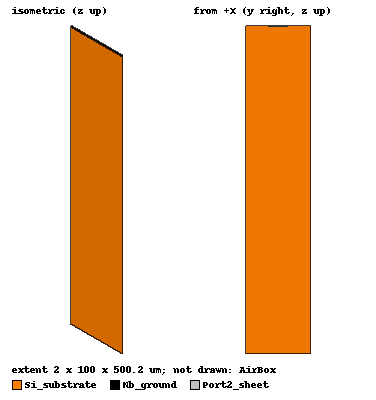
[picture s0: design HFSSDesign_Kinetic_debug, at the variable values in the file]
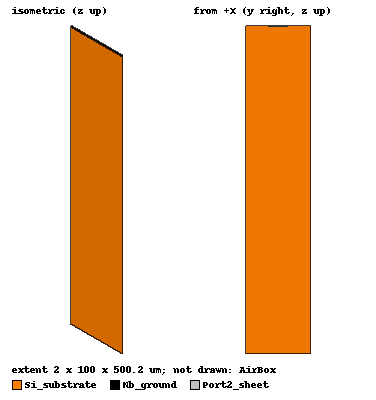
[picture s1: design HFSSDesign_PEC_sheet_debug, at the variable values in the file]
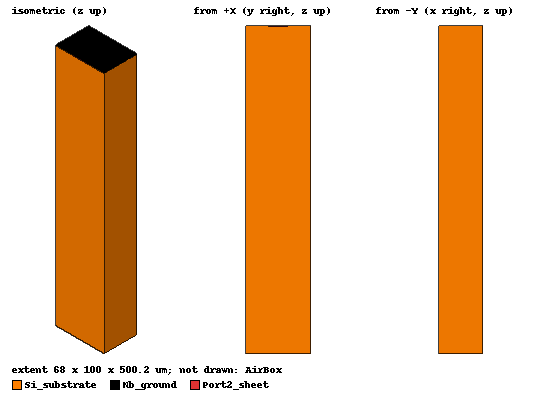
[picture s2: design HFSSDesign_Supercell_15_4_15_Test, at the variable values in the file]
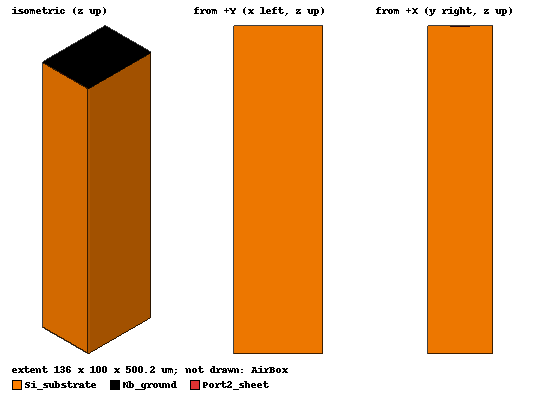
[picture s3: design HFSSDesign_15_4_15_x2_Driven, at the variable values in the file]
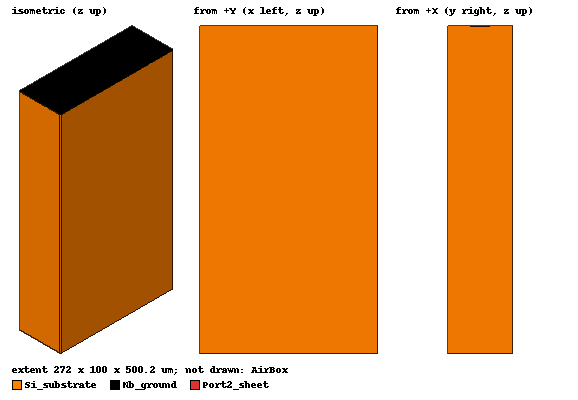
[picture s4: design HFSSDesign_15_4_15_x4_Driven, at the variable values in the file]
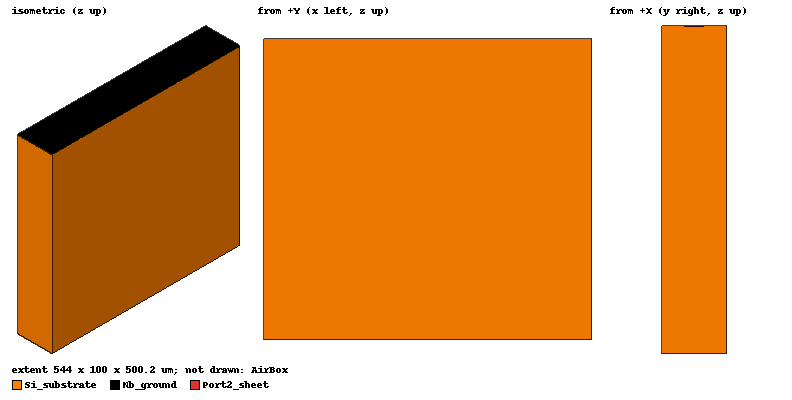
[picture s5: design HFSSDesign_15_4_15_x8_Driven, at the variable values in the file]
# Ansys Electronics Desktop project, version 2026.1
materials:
  vacuum: permittivity=1
  silicon: permittivity=11.9
  HR_Silicon_TWPA: permittivity=11.7
  a_Si_TWPA: permittivity=9.1
  pec: conductivity=1e+30

design HFSSDesign_Kinetic_debug (HFSS, HFSS Modal Network, model units um)
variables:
  stub_length = 12.1um
  port_width = 30um
  port_below = 1um
  cell_pitch = 2um
  line_width = 1um
  stub_width = 1um
  nbtin_thickness = 10nm
  dielectric_thick = 100nm
  eps_dielectric = 9.1
  Lk_square = 30pH
  tanD_substrate = 0
  air_side = 50um
  air_below = 50um
  air_above = 20um
  stub_side = 1
  substrate_thick = 500um
  eps_substrate = 11.7
  substrate_width = 100um
  ground_width = 100um
  tanD_dielectric = 0
  ground_thickness = 100nm
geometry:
  NbTiN_unit_cell [vacuum, non-model] = box(corner=(-cell_pitch/2, -line_width/2, 0um), size=(cell_pitch, line_width, nbtin_thickness))
  stub_2 = box(corner=(-stub_width/2, line_width/2, 0um), size=(stub_width, stub_length, nbtin_thickness))
  Si_substrate [HR_Silicon_TWPA] = box(corner=(-cell_pitch/2, -substrate_width/2, -substrate_thick), size=(cell_pitch, substrate_width, substrate_thick+nbtin_thickness))
  aSi_dielectric [a_Si_TWPA] = box(corner=(-cell_pitch/2, -ground_width/2, nbtin_thickness), size=(cell_pitch, ground_width, dielectric_thick))
  Nb_ground [pec] = box(corner=(-cell_pitch/2, -ground_width/2, nbtin_thickness+dielectric_thick), size=(cell_pitch, ground_width, ground_thickness))
  stub_1 = box(corner=(-stub_width/2, -line_width/2-stub_length, 0um), size=(stub_width, stub_length, nbtin_thickness))
  NbTiN_unit_cell.unite(stub_2, stub_1)
  AirBox [vacuum] = box(corner=(-1um, -100um, -550um), size=(2um, 200um, 570.21um))
  aSi_dielectric_1 = aSi_dielectric.copy()
  Nb_ground_1 = Nb_ground.copy()
  NbTiN_unit_cell_1 = NbTiN_unit_cell.copy()
  Si_substrate_1 = Si_substrate.copy()
  AirBox.subtract(aSi_dielectric_1, Nb_ground_1, NbTiN_unit_cell_1, Si_substrate_1)
  Port1_sheet = rectangle(corner=(-cell_pitch/2, -port_width/2, -port_below), y_size=port_width, z_size=port_below+dielectric_thick+ground_thickness)
  Port2_sheet = rectangle(corner=(cell_pitch/2, -port_width/2, -port_below), y_size=port_width, z_size=port_below + dielectric_thick + ground_thickness)
  NbTiN_sheet [pec] = object_from(NbTiN_unit_cell.face(+z))
  NbTiN_sheet.move(0um, 0um, 0um)
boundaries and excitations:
  NbTiN_Kinetic: Impedance Objects=NbTiN_sheet Resistance=0 Reactance=2*pi*Freq*Lk_square
  Port1: Wave Port Objects=Port1_sheet WavePortType=Default NumModes=1 Modes{Mode1{IntLine{(-1, 0, 0.01) -> (-1, 0, 0.11)} CharImp=Zpi RenormImp=50ohm}}
  Port2: Wave Port Objects=Port2_sheet WavePortType=Default NumModes=1 Modes{Mode1{IntLine{(1, 0, 0.01) -> (1, 0, 0.11)} CharImp=Zpi RenormImp=50ohm}}
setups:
  Setup1: HfssDriven Frequency=15GHz MaxDeltaS=0.02 MaximumPasses=15 MinimumPasses=2 MinimumConvergedPasses=2 PercentRefinement=30 BasisOrder=-1 PortAccuracy=2 DrivenSolverType="Auto Select Direct/Iterative"
    sweep Sweep_test: 0.2GHz to 30GHz step 0.2GHz; disabled Type=Interpolating InterpTolerance=0.5 InterpMaxSolns=250 InterpUsePortImped=false PassivityErrorTolerance=0.0001
    sweep Sweep_discrete_debug: 0.2GHz to 30GHz, 61 points; Type=Discrete
    sweep Sweep_lowfreq: 0.01GHz to 0.1GHz, 10 points; Type=Discrete
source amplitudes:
  Port1:1: 1W 0deg
  Port2:1: 0W 0deg
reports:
  S Parameter Plot1: dB(S(Port1,Port1)), dB(S(Port2,Port1)) vs Freq on Setup1 : Sweep_discrete_debug
  S Parameter Plot2: dB(S(Port1,Port1)), dB(S(Port2,Port1)), ang_deg(S(Port2,Port1)) vs Freq on Setup1 : Sweep_discrete_debug

design HFSSDesign_PEC_sheet_debug (HFSS, HFSS Modal Network, model units um)
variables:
  stub_length = 3.9um
  port_width = 30um
  port_below = 1um
  cell_pitch = 2um
  line_width = 1um
  stub_width = 1um
  nbtin_thickness = 10nm
  dielectric_thick = 100nm
  eps_dielectric = 9.1
  Lk_square = 30pH
  tanD_substrate = 0
  air_side = 50um
  air_below = 50um
  air_above = 20um
  stub_side = 1
  substrate_thick = 500um
  eps_substrate = 11.7
  substrate_width = 100um
  ground_width = 100um
  tanD_dielectric = 0
  ground_thickness = 100nm
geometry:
  NbTiN_unit_cell [vacuum, non-model] = box(corner=(-cell_pitch/2, -line_width/2, 0um), size=(cell_pitch, line_width, nbtin_thickness))
  stub_2 = box(corner=(-stub_width/2, line_width/2, 0um), size=(stub_width, stub_length, nbtin_thickness))
  Si_substrate [HR_Silicon_TWPA] = box(corner=(-cell_pitch/2, -substrate_width/2, -substrate_thick), size=(cell_pitch, substrate_width, substrate_thick+nbtin_thickness))
  aSi_dielectric [a_Si_TWPA] = box(corner=(-cell_pitch/2, -ground_width/2, nbtin_thickness), size=(cell_pitch, ground_width, dielectric_thick))
  Nb_ground [pec] = box(corner=(-cell_pitch/2, -ground_width/2, nbtin_thickness+dielectric_thick), size=(cell_pitch, ground_width, ground_thickness))
  stub_1 = box(corner=(-stub_width/2, -line_width/2-stub_length, 0um), size=(stub_width, stub_length, nbtin_thickness))
  NbTiN_unit_cell.unite(stub_2, stub_1)
  AirBox [vacuum] = box(corner=(-1um, -100um, -550um), size=(2um, 200um, 570.21um))
  aSi_dielectric_1 = aSi_dielectric.copy()
  Nb_ground_1 = Nb_ground.copy()
  NbTiN_unit_cell_1 = NbTiN_unit_cell.copy()
  Si_substrate_1 = Si_substrate.copy()
  AirBox.subtract(aSi_dielectric_1, Nb_ground_1, NbTiN_unit_cell_1, Si_substrate_1)
  Port1_sheet = rectangle(corner=(-cell_pitch/2, -port_width/2, -port_below), y_size=port_width, z_size=port_below+dielectric_thick+ground_thickness)
  Port2_sheet = rectangle(corner=(cell_pitch/2, -port_width/2, -port_below), y_size=port_width, z_size=port_below + dielectric_thick + ground_thickness)
  NbTiN_sheet [pec] = object_from(NbTiN_unit_cell.face(+z))
  NbTiN_sheet.move(0um, 0um, 0um)
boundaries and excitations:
  NbTiN_PEC: Perfect E Objects=NbTiN_sheet
  Port1: Wave Port Objects=Port1_sheet WavePortType=Default NumModes=1 Modes{Mode1{IntLine{(-1, 0, 0.01) -> (-1, 0, 0.11)} CharImp=Zpi RenormImp=50ohm}}
  Port2: Wave Port Objects=Port2_sheet WavePortType=Default NumModes=1 Modes{Mode1{IntLine{(1, 0, 0.01) -> (1, 0, 0.11)} CharImp=Zpi RenormImp=50ohm}}
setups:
  Setup1: HfssDriven Frequency=15GHz MaxDeltaS=0.02 MaximumPasses=15 MinimumPasses=2 MinimumConvergedPasses=2 PercentRefinement=30 BasisOrder=-1 PortAccuracy=2 DrivenSolverType="Auto Select Direct/Iterative"
    sweep Sweep_test: 0.2GHz to 30GHz step 0.2GHz; disabled Type=Interpolating InterpTolerance=0.5 InterpMaxSolns=250 InterpUsePortImped=false PassivityErrorTolerance=0.0001
    sweep Sweep_discrete_debug: 0.2GHz to 30GHz, 61 points; Type=Discrete
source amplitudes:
  Port1:1: 1W 0deg
  Port2:1: 0W 0deg
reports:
  S Parameter Plot1: dB(S(Port1,Port1)), dB(S(Port2,Port1)), ang_deg(S(Port2,Port1)) vs Freq on Setup1 : Sweep_discrete_debug

design HFSSDesign_Supercell_15_4_15_Test (HFSS, HFSS Modal Network, model units um)
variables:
  stub_length = 12.1um
  cell_pitch = 2um
  line_width = 1um
  stub_width = 1um
  nbtin_thickness = 10nm
  dielectric_thick = 100nm
  eps_dielectric = 9.1
  Lk_square = 30pH
  tanD_substrate = 0
  air_side = 50um
  air_below = 50um
  air_above = 20um
  stub_side = 1
  substrate_thick = 500um
  eps_substrate = 11.7
  substrate_width = 100um
  ground_width = 100um
  tanD_dielectric = 0
  ground_thickness = 100nm
  port_width = 30um
  port_below = 1um
  short_stub_length = 3.9um
  super_cell_length = super_cells*cell_pitch
  supercell_xmin = -super_cell_length/2
  long_stub_span = 2*stub_length+line_width
  short_stub_span = 2*short_stub_length+line_width
  left_cells = 15
  loaded_cells = 4
  right_cells = 15
  super_cells = left_cells+loaded_cells+right_cells
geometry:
  NbTiN_unit_cell [vacuum, non-model] = box(corner=(-cell_pitch/2, -line_width/2, 0um), size=(cell_pitch, line_width, nbtin_thickness))
  stub_2 = box(corner=(-stub_width/2, line_width/2, 0um), size=(stub_width, stub_length, nbtin_thickness))
  Si_substrate [HR_Silicon_TWPA] = box(corner=(supercell_xmin, -substrate_width/2, -substrate_thick), size=(super_cell_length, substrate_width, substrate_thick+nbtin_thickness))
  aSi_dielectric [a_Si_TWPA] = box(corner=(supercell_xmin, -substrate_width/2, nbtin_thickness), size=(super_cell_length, substrate_width, dielectric_thick))
  Nb_ground [pec] = box(corner=(supercell_xmin, -ground_width/2, nbtin_thickness+dielectric_thick), size=(super_cell_length, ground_width, ground_thickness))
  stub_1 = box(corner=(-stub_width/2, -line_width/2-stub_length, 0um), size=(stub_width, stub_length, nbtin_thickness))
  NbTiN_unit_cell.unite(stub_2, stub_1)
  AirBox [vacuum] = box(corner=(supercell_xmin, -substrate_width/2-air_side, -substrate_thick-air_below), size=(super_cells*cell_pitch, substrate_width+2*air_side, substrate_thick+air_below+nbtin_thickness+dielectric_thick+ground_thickness+air_above))
  aSi_dielectric_1 = aSi_dielectric.copy()
  Nb_ground_1 = Nb_ground.copy()
  NbTiN_unit_cell_1 = NbTiN_unit_cell.copy()
  Si_substrate_1 = Si_substrate.copy()
  AirBox.subtract(aSi_dielectric_1, Nb_ground_1, NbTiN_unit_cell_1, Si_substrate_1)
  Port1_sheet = rectangle(corner=(supercell_xmin, -port_width/2, -port_below), y_size=port_width, z_size=port_below+dielectric_thick+ground_thickness)
  Port2_sheet = rectangle(corner=(-supercell_xmin, -port_width/2, -port_below), y_size=port_width, z_size=port_below+dielectric_thick+ground_thickness)
  NbTiN_super_cell_15_4_15 = rectangle(corner=(supercell_xmin, -line_width/2, nbtin_thickness), x_size=super_cell_length, y_size=line_width)
  LongStub_Left = rectangle(corner=(-33.5um, -12.5um, nbtin_thickness), x_size=stub_width, y_size=long_stub_span)
  LongStub_Left_1..LongStub_Left_15 = LongStub_Left.duplicate_along_line(step=(2um, 0um, 0um), total=16)
  ShortStub_Center = rectangle(corner=(-1.5um, -4.4um, nbtin_thickness), x_size=stub_width, y_size=short_stub_span)
  ShortStub_Center_1 = ShortStub_Center.duplicate_along_line(step=(2um, 0um, 0um), total=2)
  LongStub_Right = rectangle(corner=(2.5um, -12.5um, nbtin_thickness), x_size=stub_width, y_size=long_stub_span)
  LongStub_Right_1..LongStub_Right_15 = LongStub_Right.duplicate_along_line(step=(2um, 0um, 0um), total=16)
  NbTiN_super_cell_15_4_15.unite(ShortStub_Center, ShortStub_Center_1, LongStub_Right_15, LongStub_Right_14, LongStub_Right_13, LongStub_Right_12, LongStub_Right_11, LongStub_Right_10, LongStub_Right_9, LongStub_Right_8, LongStub_Right_7, LongStub_Right_6, LongStub_Right_5, LongStub_Right_4, LongStub_Right_3, LongStub_Right_2, LongStub_Right_1, LongStub_Right, LongStub_Left_15, LongStub_Left_14, LongStub_Left_13, LongStub_Left_12, LongStub_Left_11, LongStub_Left_10, LongStub_Left_9, LongStub_Left_8, LongStub_Left_7, LongStub_Left_6, LongStub_Left_5, LongStub_Left_4, LongStub_Left_3, LongStub_Left_2, LongStub_Left_1, LongStub_Left)
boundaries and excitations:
  NbTiN_Kinetic: Impedance Objects=NbTiN_super_cell_15_4_15 Resistance=0 Reactance=2*pi*Freq*Lk_square
  Port1: Wave Port Objects=Port1_sheet WavePortType=Default NumModes=1 Modes{Mode1{IntLine{(-34, 0, 0.01) -> (-34, 0, 0.11)} CharImp=Zpi RenormImp=50ohm}}
  Port2: Wave Port Objects=Port2_sheet WavePortType=Default NumModes=1 Modes{Mode1{IntLine{(34, 0, 0.01) -> (34, 0, 0.11)} CharImp=Zpi RenormImp=50ohm}}
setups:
  Setup1: HfssDriven Frequency=15GHz MaxDeltaS=0.02 MaximumPasses=22 MinimumPasses=2 MinimumConvergedPasses=2 PercentRefinement=30 BasisOrder=-1 PortAccuracy=2 DrivenSolverType="Auto Select Direct/Iterative"
    sweep Sweep_15_4_15_fine: 3GHz to 14GHz, 111 points; Type=Discrete
    sweep Sweep_15_4_15_aux: 14GHz to 27GHz, 66 points; Type=Discrete
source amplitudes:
  Port1:1: 1W 0deg
  Port2:1: 0W 0deg

design HFSSDesign_15_4_15_x2_Driven (HFSS, HFSS Modal Network, model units um)
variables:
  stub_length = 12.1um
  cell_pitch = 2um
  line_width = 1um
  stub_width = 1um
  nbtin_thickness = 10nm
  dielectric_thick = 100nm
  eps_dielectric = 9.1
  Lk_square = 30pH
  tanD_substrate = 0
  air_side = 50um
  air_below = 50um
  air_above = 20um
  stub_side = 1
  substrate_thick = 500um
  eps_substrate = 11.7
  substrate_width = 100um
  ground_width = 100um
  tanD_dielectric = 0
  ground_thickness = 100nm
  port_width = 30um
  port_below = 1um
  short_stub_length = 3.9um
  super_cell_length = super_cells*cell_pitch
  supercell_xmin = -super_cell_length/2
  long_stub_span = 2*stub_length+line_width
  short_stub_span = 2*short_stub_length+line_width
  left_cells = 15
  loaded_cells = 4
  right_cells = 15
  super_cells = left_cells+loaded_cells+right_cells
  cascade_repeats = 2
  cascade_length = cascade_repeats*super_cell_length
  cascade_xmax = supercell_xmin+cascade_length
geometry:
  NbTiN_unit_cell [vacuum, non-model] = box(corner=(-cell_pitch/2, -line_width/2, 0um), size=(cell_pitch, line_width, nbtin_thickness))
  stub_2 = box(corner=(-stub_width/2, line_width/2, 0um), size=(stub_width, stub_length, nbtin_thickness))
  Si_substrate [HR_Silicon_TWPA] = box(corner=(supercell_xmin, -substrate_width/2, -substrate_thick), size=(cascade_length, substrate_width, substrate_thick+nbtin_thickness))
  aSi_dielectric [a_Si_TWPA] = box(corner=(supercell_xmin, -substrate_width/2, nbtin_thickness), size=(cascade_length, substrate_width, dielectric_thick))
  Nb_ground [pec] = box(corner=(supercell_xmin, -ground_width/2, nbtin_thickness+dielectric_thick), size=(cascade_length, ground_width, ground_thickness))
  stub_1 = box(corner=(-stub_width/2, -line_width/2-stub_length, 0um), size=(stub_width, stub_length, nbtin_thickness))
  NbTiN_unit_cell.unite(stub_2, stub_1)
  AirBox [vacuum] = box(corner=(supercell_xmin, -substrate_width/2-air_side, -substrate_thick-air_below), size=(cascade_length, substrate_width+2*air_side, substrate_thick+air_below+nbtin_thickness+dielectric_thick+ground_thickness+air_above))
  aSi_dielectric_1 = aSi_dielectric.copy()
  Nb_ground_1 = Nb_ground.copy()
  NbTiN_unit_cell_1 = NbTiN_unit_cell.copy()
  Si_substrate_1 = Si_substrate.copy()
  AirBox.subtract(aSi_dielectric_1, Nb_ground_1, NbTiN_unit_cell_1, Si_substrate_1)
  Port1_sheet = rectangle(corner=(supercell_xmin, -port_width/2, -port_below), y_size=port_width, z_size=port_below+dielectric_thick+ground_thickness)
  Port2_sheet = rectangle(corner=(cascade_xmax, -port_width/2, -port_below), y_size=port_width, z_size=port_below+dielectric_thick+ground_thickness)
  NbTiN_super_cell_15_4_15 = rectangle(corner=(supercell_xmin, -line_width/2, nbtin_thickness), x_size=super_cell_length, y_size=line_width)
  LongStub_Left = rectangle(corner=(-33.5um, -12.5um, nbtin_thickness), x_size=stub_width, y_size=long_stub_span)
  LongStub_Left_1..LongStub_Left_15 = LongStub_Left.duplicate_along_line(step=(2um, 0um, 0um), total=16)
  ShortStub_Center = rectangle(corner=(-1.5um, -4.4um, nbtin_thickness), x_size=stub_width, y_size=short_stub_span)
  ShortStub_Center_1 = ShortStub_Center.duplicate_along_line(step=(2um, 0um, 0um), total=2)
  LongStub_Right = rectangle(corner=(2.5um, -12.5um, nbtin_thickness), x_size=stub_width, y_size=long_stub_span)
  LongStub_Right_1..LongStub_Right_15 = LongStub_Right.duplicate_along_line(step=(2um, 0um, 0um), total=16)
  NbTiN_super_cell_15_4_15.unite(ShortStub_Center, ShortStub_Center_1, LongStub_Right_15, LongStub_Right_14, LongStub_Right_13, LongStub_Right_12, LongStub_Right_11, LongStub_Right_10, LongStub_Right_9, LongStub_Right_8, LongStub_Right_7, LongStub_Right_6, LongStub_Right_5, LongStub_Right_4, LongStub_Right_3, LongStub_Right_2, LongStub_Right_1, LongStub_Right, LongStub_Left_15, LongStub_Left_14, LongStub_Left_13, LongStub_Left_12, LongStub_Left_11, LongStub_Left_10, LongStub_Left_9, LongStub_Left_8, LongStub_Left_7, LongStub_Left_6, LongStub_Left_5, LongStub_Left_4, LongStub_Left_3, LongStub_Left_2, LongStub_Left_1, LongStub_Left)
  NbTiN_super_cell_15_4_15_1 = NbTiN_super_cell_15_4_15.duplicate_along_line(step=(68um, 0um, 0um), total=2)
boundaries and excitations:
  NbTiN_Kinetic: Impedance Objects=NbTiN_super_cell_15_4_15 Resistance=0 Reactance=2*pi*Freq*Lk_square
  NbTiN_Kinetic1: Impedance Objects=NbTiN_super_cell_15_4_15_1 Resistance=0 Reactance=2*pi*Freq*Lk_square
  Port1: Wave Port Objects=Port1_sheet WavePortType=Default NumModes=1 Modes{Mode1{IntLine{(-34, 0, 0.01) -> (-34, 0, 0.11)} CharImp=Zpi RenormImp=50ohm}}
  Port2: Wave Port Objects=Port2_sheet WavePortType=Default NumModes=1 Modes{Mode1{IntLine{(102, 0, 0.01) -> (102, 0, 0.11)} CharImp=Zpi RenormImp=50ohm}}
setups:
  Setup1: HfssDriven Frequency=15GHz MaxDeltaS=0.02 MaximumPasses=22 MinimumPasses=2 MinimumConvergedPasses=2 PercentRefinement=30 BasisOrder=-1 PortAccuracy=2 DrivenSolverType="Auto Select Direct/Iterative"
    sweep Sweep_15_4_15_fine: 3GHz to 14GHz, 111 points; Type=Discrete
    sweep Sweep_15_4_15_aux: 14GHz to 27GHz, 66 points; Type=Discrete
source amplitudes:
  Port1:1: 1W 0deg
  Port2:1: 0W 0deg

design HFSSDesign_15_4_15_x4_Driven (HFSS, HFSS Modal Network, model units um)
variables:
  stub_length = 12.1um
  cell_pitch = 2um
  line_width = 1um
  stub_width = 1um
  nbtin_thickness = 10nm
  dielectric_thick = 100nm
  eps_dielectric = 9.1
  Lk_square = 30pH
  tanD_substrate = 0
  air_side = 50um
  air_below = 50um
  air_above = 20um
  stub_side = 1
  substrate_thick = 500um
  eps_substrate = 11.7
  substrate_width = 100um
  ground_width = 100um
  tanD_dielectric = 0
  ground_thickness = 100nm
  port_width = 30um
  port_below = 1um
  short_stub_length = 3.9um
  super_cell_length = super_cells*cell_pitch
  supercell_xmin = -super_cell_length/2
  long_stub_span = 2*stub_length+line_width
  short_stub_span = 2*short_stub_length+line_width
  left_cells = 15
  loaded_cells = 4
  right_cells = 15
  super_cells = left_cells+loaded_cells+right_cells
  cascade_repeats = 4
  cascade_length = cascade_repeats*super_cell_length
  cascade_xmax = supercell_xmin+cascade_length
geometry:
  NbTiN_unit_cell [vacuum, non-model] = box(corner=(-cell_pitch/2, -line_width/2, 0um), size=(cell_pitch, line_width, nbtin_thickness))
  stub_2 = box(corner=(-stub_width/2, line_width/2, 0um), size=(stub_width, stub_length, nbtin_thickness))
  Si_substrate [HR_Silicon_TWPA] = box(corner=(supercell_xmin, -substrate_width/2, -substrate_thick), size=(cascade_length, substrate_width, substrate_thick+nbtin_thickness))
  aSi_dielectric [a_Si_TWPA] = box(corner=(supercell_xmin, -substrate_width/2, nbtin_thickness), size=(cascade_length, substrate_width, dielectric_thick))
  Nb_ground [pec] = box(corner=(supercell_xmin, -ground_width/2, nbtin_thickness+dielectric_thick), size=(cascade_length, ground_width, ground_thickness))
  stub_1 = box(corner=(-stub_width/2, -line_width/2-stub_length, 0um), size=(stub_width, stub_length, nbtin_thickness))
  NbTiN_unit_cell.unite(stub_2, stub_1)
  AirBox [vacuum] = box(corner=(supercell_xmin, -substrate_width/2-air_side, -substrate_thick-air_below), size=(cascade_length, substrate_width+2*air_side, substrate_thick+air_below+nbtin_thickness+dielectric_thick+ground_thickness+air_above))
  aSi_dielectric_1 = aSi_dielectric.copy()
  Nb_ground_1 = Nb_ground.copy()
  NbTiN_unit_cell_1 = NbTiN_unit_cell.copy()
  Si_substrate_1 = Si_substrate.copy()
  AirBox.subtract(aSi_dielectric_1, Nb_ground_1, NbTiN_unit_cell_1, Si_substrate_1)
  Port1_sheet = rectangle(corner=(supercell_xmin, -port_width/2, -port_below), y_size=port_width, z_size=port_below+dielectric_thick+ground_thickness)
  NbTiN_super_cell_15_4_15 = rectangle(corner=(supercell_xmin, -line_width/2, nbtin_thickness), x_size=super_cell_length, y_size=line_width)
  LongStub_Left = rectangle(corner=(-33.5um, -12.5um, nbtin_thickness), x_size=stub_width, y_size=long_stub_span)
  LongStub_Left_1..LongStub_Left_15 = LongStub_Left.duplicate_along_line(step=(2um, 0um, 0um), total=16)
  ShortStub_Center = rectangle(corner=(-1.5um, -4.4um, nbtin_thickness), x_size=stub_width, y_size=short_stub_span)
  ShortStub_Center_1 = ShortStub_Center.duplicate_along_line(step=(2um, 0um, 0um), total=2)
  LongStub_Right = rectangle(corner=(2.5um, -12.5um, nbtin_thickness), x_size=stub_width, y_size=long_stub_span)
  LongStub_Right_1..LongStub_Right_15 = LongStub_Right.duplicate_along_line(step=(2um, 0um, 0um), total=16)
  NbTiN_super_cell_15_4_15.unite(ShortStub_Center, ShortStub_Center_1, LongStub_Right_15, LongStub_Right_14, LongStub_Right_13, LongStub_Right_12, LongStub_Right_11, LongStub_Right_10, LongStub_Right_9, LongStub_Right_8, LongStub_Right_7, LongStub_Right_6, LongStub_Right_5, LongStub_Right_4, LongStub_Right_3, LongStub_Right_2, LongStub_Right_1, LongStub_Right, LongStub_Left_15, LongStub_Left_14, LongStub_Left_13, LongStub_Left_12, LongStub_Left_11, LongStub_Left_10, LongStub_Left_9, LongStub_Left_8, LongStub_Left_7, LongStub_Left_6, LongStub_Left_5, LongStub_Left_4, LongStub_Left_3, LongStub_Left_2, LongStub_Left_1, LongStub_Left)
  NbTiN_super_cell_15_4_15_1, NbTiN_super_cell_15_4_15_2, NbTiN_super_cell_15_4_15_3 = NbTiN_super_cell_15_4_15.duplicate_along_line(step=(68um, 0um, 0um), total=4)
  Port2_sheet = rectangle(corner=(cascade_xmax, -port_width/2, -port_below), y_size=port_width, z_size=port_below+dielectric_thick+ground_thickness)
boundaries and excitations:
  NbTiN_Kinetic: Impedance Objects=NbTiN_super_cell_15_4_15 Resistance=0 Reactance=2*pi*Freq*Lk_square
  NbTiN_Kinetic1: Impedance Objects=NbTiN_super_cell_15_4_15_1 Resistance=0 Reactance=2*pi*Freq*Lk_square
  NbTiN_Kinetic2: Impedance Objects=NbTiN_super_cell_15_4_15_2 Resistance=0 Reactance=2*pi*Freq*Lk_square
  NbTiN_Kinetic3: Impedance Objects=NbTiN_super_cell_15_4_15_3 Resistance=0 Reactance=2*pi*Freq*Lk_square
  Port1: Wave Port Objects=Port1_sheet WavePortType=Default NumModes=1 Modes{Mode1{IntLine{(-34, 0, 0.01) -> (-34, 0, 0.11)} CharImp=Zpi RenormImp=50ohm}}
  Port2: Wave Port Objects=Port2_sheet WavePortType=Default NumModes=1 Modes{Mode1{IntLine{(238, 0, 0.01) -> (238, 0, 0.11)} CharImp=Zpi RenormImp=50ohm}}
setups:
  Setup1: HfssDriven Frequency=15GHz MaxDeltaS=0.02 MaximumPasses=22 MinimumPasses=2 MinimumConvergedPasses=2 PercentRefinement=30 BasisOrder=-1 PortAccuracy=2 DrivenSolverType="Auto Select Direct/Iterative"
    sweep Sweep_15_4_15_fine: 3GHz to 14GHz, 111 points; Type=Discrete
    sweep Sweep_15_4_15_aux: 14GHz to 27GHz, 66 points; Type=Discrete
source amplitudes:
  Port1:1: 1W 0deg
  Port2:1: 0W 0deg

design HFSSDesign_15_4_15_x8_Driven (HFSS, HFSS Modal Network, model units um)
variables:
  stub_length = 12.1um
  cell_pitch = 2um
  line_width = 1um
  stub_width = 1um
  nbtin_thickness = 10nm
  dielectric_thick = 100nm
  eps_dielectric = 9.1
  Lk_square = 30pH
  tanD_substrate = 0
  air_side = 50um
  air_below = 50um
  air_above = 20um
  stub_side = 1
  substrate_thick = 500um
  eps_substrate = 11.7
  substrate_width = 100um
  ground_width = 100um
  tanD_dielectric = 0
  ground_thickness = 100nm
  port_width = 30um
  port_below = 1um
  short_stub_length = 3.9um
  super_cell_length = super_cells*cell_pitch
  supercell_xmin = -super_cell_length/2
  long_stub_span = 2*stub_length+line_width
  short_stub_span = 2*short_stub_length+line_width
  left_cells = 15
  loaded_cells = 4
  right_cells = 15
  super_cells = left_cells+loaded_cells+right_cells
  cascade_repeats = 8
  cascade_length = cascade_repeats*super_cell_length
  cascade_xmax = supercell_xmin+cascade_length
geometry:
  NbTiN_unit_cell [vacuum, non-model] = box(corner=(-cell_pitch/2, -line_width/2, 0um), size=(cell_pitch, line_width, nbtin_thickness))
  stub_2 = box(corner=(-stub_width/2, line_width/2, 0um), size=(stub_width, stub_length, nbtin_thickness))
  Si_substrate [HR_Silicon_TWPA] = box(corner=(supercell_xmin, -substrate_width/2, -substrate_thick), size=(cascade_length, substrate_width, substrate_thick+nbtin_thickness))
  aSi_dielectric [a_Si_TWPA] = box(corner=(supercell_xmin, -substrate_width/2, nbtin_thickness), size=(cascade_length, substrate_width, dielectric_thick))
  Nb_ground [pec] = box(corner=(supercell_xmin, -ground_width/2, nbtin_thickness+dielectric_thick), size=(cascade_length, ground_width, ground_thickness))
  stub_1 = box(corner=(-stub_width/2, -line_width/2-stub_length, 0um), size=(stub_width, stub_length, nbtin_thickness))
  NbTiN_unit_cell.unite(stub_2, stub_1)
  AirBox [vacuum] = box(corner=(supercell_xmin, -substrate_width/2-air_side, -substrate_thick-air_below), size=(cascade_length, substrate_width+2*air_side, substrate_thick+air_below+nbtin_thickness+dielectric_thick+ground_thickness+air_above))
  aSi_dielectric_1 = aSi_dielectric.copy()
  Nb_ground_1 = Nb_ground.copy()
  NbTiN_unit_cell_1 = NbTiN_unit_cell.copy()
  Si_substrate_1 = Si_substrate.copy()
  AirBox.subtract(aSi_dielectric_1, Nb_ground_1, NbTiN_unit_cell_1, Si_substrate_1)
  Port1_sheet = rectangle(corner=(supercell_xmin, -port_width/2, -port_below), y_size=port_width, z_size=port_below+dielectric_thick+ground_thickness)
  Port2_sheet = rectangle(corner=(cascade_xmax, -port_width/2, -port_below), y_size=port_width, z_size=port_below+dielectric_thick+ground_thickness)
  NbTiN_super_cell_15_4_15 = rectangle(corner=(supercell_xmin, -line_width/2, nbtin_thickness), x_size=super_cell_length, y_size=line_width)
  LongStub_Left = rectangle(corner=(-33.5um, -12.5um, nbtin_thickness), x_size=stub_width, y_size=long_stub_span)
  LongStub_Left_1..LongStub_Left_15 = LongStub_Left.duplicate_along_line(step=(2um, 0um, 0um), total=16)
  ShortStub_Center = rectangle(corner=(-1.5um, -4.4um, nbtin_thickness), x_size=stub_width, y_size=short_stub_span)
  ShortStub_Center_1 = ShortStub_Center.duplicate_along_line(step=(2um, 0um, 0um), total=2)
  LongStub_Right = rectangle(corner=(2.5um, -12.5um, nbtin_thickness), x_size=stub_width, y_size=long_stub_span)
  LongStub_Right_1..LongStub_Right_15 = LongStub_Right.duplicate_along_line(step=(2um, 0um, 0um), total=16)
  NbTiN_super_cell_15_4_15.unite(ShortStub_Center, ShortStub_Center_1, LongStub_Right_15, LongStub_Right_14, LongStub_Right_13, LongStub_Right_12, LongStub_Right_11, LongStub_Right_10, LongStub_Right_9, LongStub_Right_8, LongStub_Right_7, LongStub_Right_6, LongStub_Right_5, LongStub_Right_4, LongStub_Right_3, LongStub_Right_2, LongStub_Right_1, LongStub_Right, LongStub_Left_15, LongStub_Left_14, LongStub_Left_13, LongStub_Left_12, LongStub_Left_11, LongStub_Left_10, LongStub_Left_9, LongStub_Left_8, LongStub_Left_7, LongStub_Left_6, LongStub_Left_5, LongStub_Left_4, LongStub_Left_3, LongStub_Left_2, LongStub_Left_1, LongStub_Left)
  NbTiN_super_cell_15_4_15_1..NbTiN_super_cell_15_4_15_7 = NbTiN_super_cell_15_4_15.duplicate_along_line(step=(68um, 0um, 0um), total=8)
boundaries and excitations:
  NbTiN_Kinetic: Impedance Objects=NbTiN_super_cell_15_4_15 Resistance=0 Reactance=2*pi*Freq*Lk_square
  NbTiN_Kinetic1: Impedance Objects=NbTiN_super_cell_15_4_15_1 Resistance=0 Reactance=2*pi*Freq*Lk_square
  NbTiN_Kinetic2: Impedance Objects=NbTiN_super_cell_15_4_15_2 Resistance=0 Reactance=2*pi*Freq*Lk_square
  NbTiN_Kinetic3: Impedance Objects=NbTiN_super_cell_15_4_15_3 Resistance=0 Reactance=2*pi*Freq*Lk_square
  NbTiN_Kinetic4: Impedance Objects=NbTiN_super_cell_15_4_15_4 Resistance=0 Reactance=2*pi*Freq*Lk_square
  NbTiN_Kinetic5: Impedance Objects=NbTiN_super_cell_15_4_15_5 Resistance=0 Reactance=2*pi*Freq*Lk_square
  NbTiN_Kinetic6: Impedance Objects=NbTiN_super_cell_15_4_15_6 Resistance=0 Reactance=2*pi*Freq*Lk_square
  NbTiN_Kinetic7: Impedance Objects=NbTiN_super_cell_15_4_15_7 Resistance=0 Reactance=2*pi*Freq*Lk_square
  Port1: Wave Port Objects=Port1_sheet WavePortType=Default NumModes=1 Modes{Mode1{IntLine{(-34, 0, 0.01) -> (-34, 0, 0.11)} CharImp=Zpi RenormImp=50ohm}}
  Port2: Wave Port Objects=Port2_sheet WavePortType=Default NumModes=1 Modes{Mode1{IntLine{(510, 0, 0.01) -> (510, 0, 0.11)} CharImp=Zpi RenormImp=50ohm}}
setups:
  Setup1: HfssDriven Frequency=15GHz MaxDeltaS=0.02 MaximumPasses=22 MinimumPasses=2 MinimumConvergedPasses=2 PercentRefinement=30 BasisOrder=-1 PortAccuracy=2 DrivenSolverType="Auto Select Direct/Iterative"
    sweep Sweep_15_4_15_fine: 3GHz to 14GHz, 111 points; Type=Discrete
    sweep Sweep_15_4_15_aux: 14GHz to 27GHz, 66 points; Type=Discrete
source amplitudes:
  Port1:1: 1W 0deg
  Port2:1: 0W 0deg
